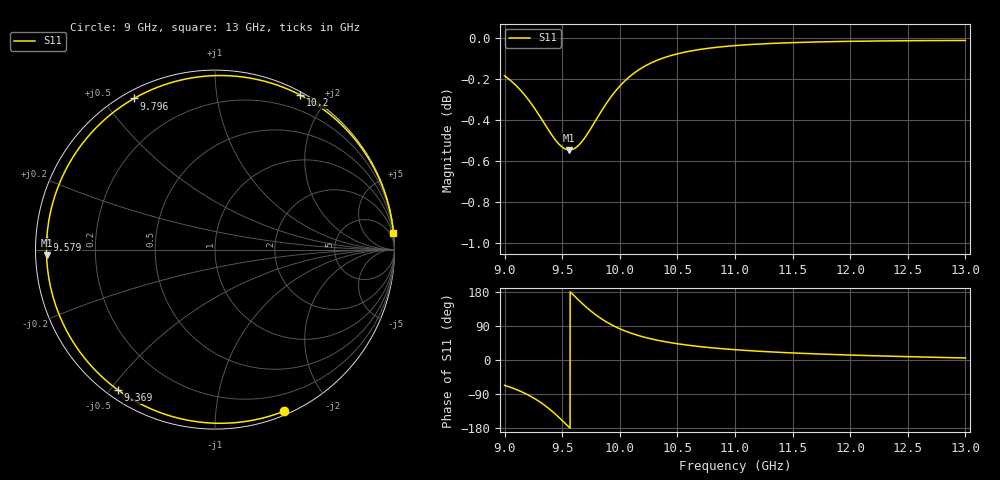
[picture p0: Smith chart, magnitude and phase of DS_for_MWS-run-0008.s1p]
! TOUCHSTONE file generated by CST DESIGN STUDIO
! Date and time: Tue Feb  4 13:49:58 2025
! Project name: C:\Work\MatlabApps\UnitCellOptimizationMatlab\CST\unitcell.cst
! Tree item: Tasks\Sweep1\SPara1\S-Parameters
! Header version: 2024
! Port assignment regex: !\s*Touchstone port\s*([0-9]+)\s*=\s*(CST MWS port|CST DES external port|CST DES block port)\s*(.+)\s* \(\"(.*)\"\)(\s*mode\s*([0-9]+))?.*
! Touchstone port assignment:
! Touchstone port 1 = CST DES external port 1 ("")
# GHz S MA R 50
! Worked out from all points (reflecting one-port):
!   4001 points, 9 GHz to 13 GHz, reference 50 ohm
!   lowest |S11| = -0.5 dB at 9.562 GHz (marker M1), VSWR 31.87, Z = 1.57 - j0.866 ohm
!   phase of S11 starts at -67 deg and turns -288 deg over the sweep
!   S11 on the Smith chart (normalised r, x): 9 GHz: 0.03, -1.51; 9.369 GHz: 0.03, -0.52; 9.579 GHz: 0.03, +0.03; 9.796 GHz: 0.03, +0.60; 10.2 GHz: 0.03, +1.69; 13 GHz: 0, +21
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9  0.9789 -66.9
9.042  0.9769 -71.2
9.108  0.9731 -78.7
9.221  0.9647 -94.9
9.299  0.9577 -109.2
9.369  0.9508 -124.6
9.433  0.945 -140.8
9.5  0.9406 -159.6
9.562  0.9392 -178.0
9.579  0.9393 176.9
9.634  0.9411 160.5
9.695  0.9455 143.2
9.745  0.9502 130.2
9.796  0.9553 118.1
9.84  0.9598 108.8
9.888  0.9643 99.7
9.94  0.9688 91.0
10  0.9733 82.3
10.097  0.9791 70.8
10.202  0.9837 61.1
10.339  0.9879 51.4
10.5  0.991 42.9
10.721  0.9937 34.5
11  0.9956 27.2
11.5  0.9973 18.6
12  0.998 13.0
12.5  0.9984 8.8
13  0.9985 5.4
